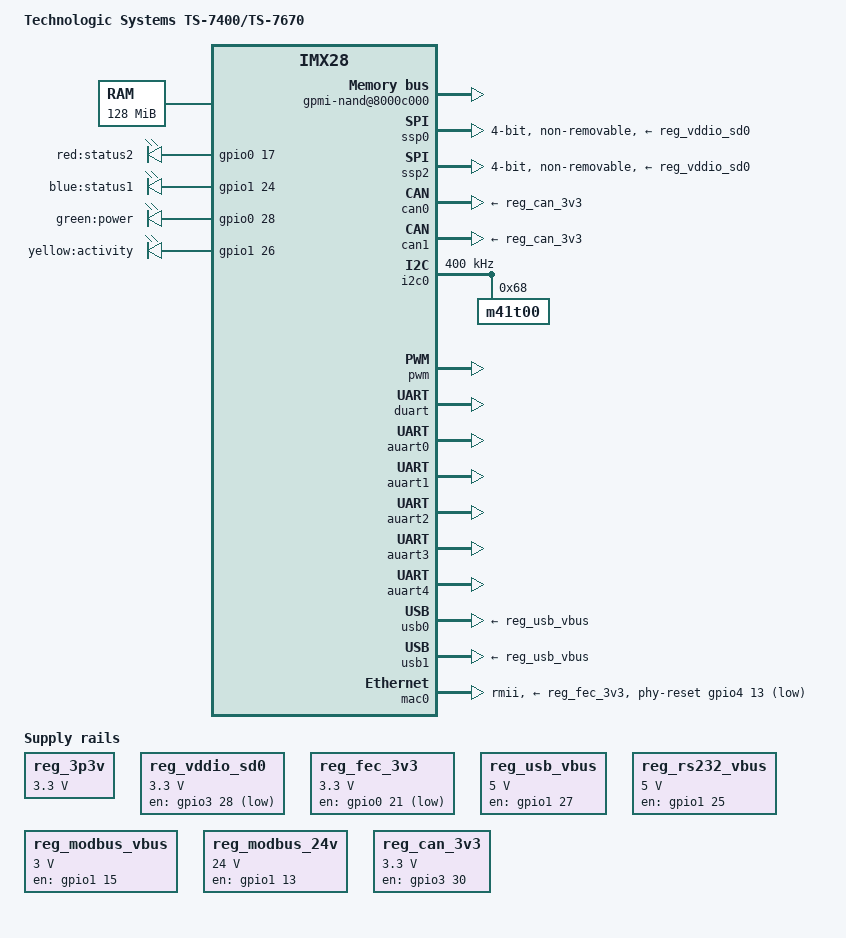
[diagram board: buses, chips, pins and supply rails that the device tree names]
/*
 * Copyright 2014 VRT Systems
 * Copyright 2012 Freescale Semiconductor, Inc.
 *
 * The code contained herein is licensed under the GNU General Public
 * License. You may obtain a copy of the GNU General Public License
 * Version 2 or later at the following locations:
 *
 * http://www.opensource.org/licenses/gpl-license.html
 * http://www.gnu.org/copyleft/gpl.html
 */

/dts-v1/;
#include "imx28.dtsi"

/ {
	model = "Technologic Systems TS-7400/TS-7670";
	compatible = "fsl,imx28-technolgic-ts7400", "fsl,imx28";

	memory {
		reg = <0x40000000 0x08000000>;
	};

	apb@80000000 {
		apbh@80000000 {
			gpmi-nand@8000c000 {
				pinctrl-names = "default";
				pinctrl-0 = <&gpmi_pins_ts7400
					&gpmi_status_cfg>;
				status = "okay";
			};

			ssp0: ssp@80010000 {
				compatible = "fsl,imx28-mmc";
				pinctrl-names = "default";
				pinctrl-0 = <&mmc0_4bit_pins_a
					&mmc0_sck_cfg>;
				bus-width = <4>;
				vmmc-supply = <&reg_vddio_sd0>;
				status = "okay";
				broken-cd;
				non-removable;
			};

			ssp2: ssp@80014000 {
				compatible = "fsl,imx28-mmc";
				pinctrl-names = "default";
				pinctrl-0 = <&mmc2_4bit_pins_a
					&mmc2_sck_cfg>;
				bus-width = <4>;
				vmmc-supply = <&reg_vddio_sd0>;
				status = "okay";
				broken-cd;
				non-removable;
			};

			pinctrl@80018000 {
				pinctrl-names = "default";
				pinctrl-0 = <&hog_pins_a>;

				mmc0_pins_a: mmc0-4bit@0 {
					reg = <0>;
					fsl,pinmux-ids = <
						MX28_PAD_SSP0_DATA0__SSP0_D0
						MX28_PAD_SSP0_DATA1__SSP0_D1
						MX28_PAD_SSP0_DATA2__SSP0_D2
						MX28_PAD_SSP0_DATA3__SSP0_D3
						MX28_PAD_SSP0_CMD__SSP0_CMD
						MX28_PAD_SSP0_SCK__SSP0_SCK
					>;
					fsl,drive-strength = <MXS_DRIVE_8mA>;
					fsl,voltage = <MXS_VOLTAGE_HIGH>;
					fsl,pull-up = <MXS_PULL_ENABLE>;
				};

				mmc2_pins_a: mmc2-4bit@0 {
					reg = <0>;
					fsl,pinmux-ids = <
						MX28_PAD_SSP0_DATA4__SSP2_D0
						MX28_PAD_SSP1_SCK__SSP2_D1
						MX28_PAD_SSP1_CMD__SSP2_D2
						MX28_PAD_SSP0_DATA5__SSP2_D3
						MX28_PAD_SSP0_DATA6__SSP2_CMD
						MX28_PAD_SSP0_DATA7__SSP2_SCK
					>;
					fsl,drive-strength = <MXS_DRIVE_8mA>;
					fsl,voltage = <MXS_VOLTAGE_HIGH>;
					fsl,pull-up = <MXS_PULL_ENABLE>;
				};

				hog_pins_a: hog@0 {
					reg = <0>;
					fsl,pinmux-ids = <
						MX28_PAD_PWM3__GPIO_3_28
						MX28_PAD_LCD_RESET__GPIO_3_30
						MX28_PAD_LCD_D15__GPIO_1_15
						MX28_PAD_LCD_D13__GPIO_1_13
						MX28_PAD_LCD_CS__GPIO_1_27
						MX28_PAD_LCD_WR_RWN__GPIO_1_25
						MX28_PAD_GPMI_RDY1__GPIO_0_21
					>;
					fsl,drive-strength = <MXS_DRIVE_4mA>;
					fsl,voltage = <MXS_VOLTAGE_HIGH>;
					fsl,pull-up = <MXS_PULL_DISABLE>;
				};

				red_led_pin_gpio0_17: red_led_gpio0_17@0 {
					reg = <0>;
					fsl,pinmux-ids = <
						MX28_PAD_GPMI_CE1N__GPIO_0_17
					>;
					fsl,drive-strength = <MXS_DRIVE_4mA>;
					fsl,voltage = <MXS_VOLTAGE_HIGH>;
					fsl,pull-up = <MXS_PULL_DISABLE>;
				};

				blue_led_pin_gpio1_24: blue_led_gpio1_24@0 {
					reg = <0>;
					fsl,pinmux-ids = <
						MX28_PAD_LCD_RD_E__GPIO_1_24
					>;
					fsl,drive-strength = <MXS_DRIVE_4mA>;
					fsl,voltage = <MXS_VOLTAGE_HIGH>;
					fsl,pull-up = <MXS_PULL_DISABLE>;
				};

				green_led_pin_gpio0_28: green_led_gpio0_28@0 {
					reg = <0>;
					fsl,pinmux-ids = <
						MX28_PAD_GPMI_RESETN__GPIO_0_28
					>;
					fsl,drive-strength = <MXS_DRIVE_4mA>;
					fsl,voltage = <MXS_VOLTAGE_HIGH>;
					fsl,pull-up = <MXS_PULL_DISABLE>;
				};

				yellow_led_pin_gpio1_26: yellow_led_gpio1_26@0 {
					reg = <0>;
					fsl,pinmux-ids = <
						MX28_PAD_LCD_RS__GPIO_1_26
					>;
					fsl,drive-strength = <MXS_DRIVE_4mA>;
					fsl,voltage = <MXS_VOLTAGE_HIGH>;
					fsl,pull-up = <MXS_PULL_DISABLE>;
				};

				gpmi_pins_ts7400: gpmi-nand@0 {
					reg = <0>;
					fsl,pinmux-ids = <
						MX28_PAD_GPMI_D00__GPMI_D0
						MX28_PAD_GPMI_D01__GPMI_D1
						MX28_PAD_GPMI_D02__GPMI_D2
						MX28_PAD_GPMI_D03__GPMI_D3
						MX28_PAD_GPMI_D04__GPMI_D4
						MX28_PAD_GPMI_D05__GPMI_D5
						MX28_PAD_GPMI_D06__GPMI_D6
						MX28_PAD_GPMI_D07__GPMI_D7
						MX28_PAD_GPMI_CE0N__GPMI_CE0N
						MX28_PAD_GPMI_RDY0__GPMI_READY0
						MX28_PAD_GPMI_RDN__GPMI_RDN
						MX28_PAD_GPMI_WRN__GPMI_WRN
						MX28_PAD_GPMI_ALE__GPMI_ALE
						MX28_PAD_GPMI_CLE__GPMI_CLE
					>;
					fsl,drive-strength = <MXS_DRIVE_4mA>;
					fsl,voltage = <MXS_VOLTAGE_HIGH>;
					fsl,pull-up = <MXS_PULL_DISABLE>;
				};
				auart4_pins: auart4@0 {
					reg = <0>;
					fsl,pinmux-ids = <
						MX28_PAD_SAIF0_SDATA0__AUART4_TX
						MX28_PAD_SAIF0_BITCLK__AUART4_RX
					>;
					fsl,drive-strength = <MXS_DRIVE_4mA>;
					fsl,voltage = <MXS_VOLTAGE_HIGH>;
					fsl,pull-up = <MXS_PULL_DISABLE>;
				};
			};

			can0: can@80032000 {
				pinctrl-names = "default";
				pinctrl-0 = <&can0_pins_a>;
				xceiver-supply = <&reg_can_3v3>;
				status = "okay";
			};

			can1: can@80034000 {
				pinctrl-names = "default";
				pinctrl-0 = <&can1_pins_a>;
				xceiver-supply = <&reg_can_3v3>;
				status = "okay";
			};
		};

		apbx@80040000 {
			i2c0: i2c@80058000 {
				pinctrl-names = "default";
				pinctrl-0 = <&i2c0_pins_a>;
				clock-frequency = <400000>;
				status = "okay";

				m41t00@0x68 {
					compatible = "m41t00";
					reg = <0x68>;
				};
			};

			pwm: pwm@80064000 {
				pinctrl-names = "default";
				pinctrl-0 = <&pwm2_pins_a>;
				status = "okay";
			};

			duart: serial@80074000 {
				pinctrl-names = "default";
				pinctrl-0 = <&duart_pins_a>;
				status = "okay";
			};

			auart0: serial@8006a000 {
				pinctrl-names = "default";
				pinctrl-0 = <&auart0_pins_a>;
				fsl,uart-has-rtscts;
				status = "okay";
			};

			auart1: serial@8006c000 {
				pinctrl-names = "default";
				pinctrl-0 = <&auart1_2pins_a>;
				status = "okay";
			};

			auart2: serial@8006e000 {
				pinctrl-names = "default";
				pinctrl-0 = <&auart2_2pins_a>;
				status = "okay";
			};

			auart3: serial@80070000 {
				pinctrl-names = "default";
				pinctrl-0 = <&auart3_2pins_a>;
				status = "okay";
			};

			auart4: serial@80072000 {
				pinctrl-names = "default";
				pinctrl-0 = <&auart4_pins>;
				status = "okay";
			};

			usbphy0: usbphy@8007c000 {
				status = "okay";
			};

			usbphy1: usbphy@8007e000 {
				status = "okay";
			};
		};
	};

	ahb@80080000 {
		usb0: usb@80080000 {
			pinctrl-names = "default";
			pinctrl-0 = <&usb0_pins_a>;
			vbus-supply = <&reg_usb_vbus>;
			status = "okay";
		};

		usb1: usb@80090000 {
			pinctrl-names = "default";
			pinctrl-0 = <&usb1_pins_a>;
			vbus-supply = <&reg_usb_vbus>;
			status = "okay";
		};

		mac0: ethernet@800f0000 {
			phy-mode = "rmii";
			pinctrl-names = "default";
			pinctrl-0 = <&mac0_pins_a>;
			phy-supply = <&reg_fec_3v3>;
			phy-reset-gpios = <&gpio4 13 0>;
			phy-reset-duration = <100>;
			status = "okay";
		};
	};

	regulators {
		compatible = "simple-bus";
		#address-cells = <1>;
		#size-cells = <0>;

		reg_3p3v: regulator@0 {
			compatible = "regulator-fixed";
			reg = <0>;
			regulator-name = "3P3V";
			regulator-min-microvolt = <3300000>;
			regulator-max-microvolt = <3300000>;
			regulator-always-on;
		};

		reg_vddio_sd0: regulator@1 {
			compatible = "regulator-fixed";
			reg = <1>;
			regulator-name = "vddio-sd0";
			regulator-min-microvolt = <3300000>;
			regulator-max-microvolt = <3300000>;
			gpio = <&gpio3 28 0>;
			regulator-always-on;
		};

		reg_fec_3v3: regulator@2 {
			compatible = "regulator-fixed";
			reg = <2>;
			regulator-name = "fec-3v3";
			regulator-min-microvolt = <3300000>;
			regulator-max-microvolt = <3300000>;
			gpio = <&gpio0 21 0>;
			regulator-always-on;
		};

		reg_usb_vbus: regulator@3 {
			compatible = "regulator-fixed";
			reg = <3>;
			regulator-name = "usb_vbus";
			regulator-min-microvolt = <5000000>;
			regulator-max-microvolt = <5000000>;
			gpio = <&gpio1 27 0>;
			enable-active-high;
			regulator-always-on;
		};

		reg_rs232_vbus: regulator@4 {
			compatible = "regulator-fixed";
			reg = <4>;
			regulator-name = "rs232_vbus";
			regulator-min-microvolt = <5000000>;
			regulator-max-microvolt = <5000000>;
			gpio = <&gpio1 25 0>;
			enable-active-high;
			regulator-always-on;
		};

		reg_modbus_vbus: regulator@5 {
			compatible = "regulator-fixed";
			reg = <5>;
			regulator-name = "modbus_vbus";
			regulator-min-microvolt = <3000000>;
			regulator-max-microvolt = <3000000>;
			gpio = <&gpio1 15 0>;
			enable-active-high;
			regulator-always-on;
		};

		reg_modbus_24v: regulator@6 {
			compatible = "regulator-fixed";
			reg = <6>;
			regulator-name = "modbus_24v";
			regulator-min-microvolt = <24000000>;
			regulator-max-microvolt = <24000000>;
			gpio = <&gpio1 13 0>;
			enable-active-high;
			regulator-always-on;
		};

		reg_can_3v3: regulator@7 {
			compatible = "regulator-fixed";
			reg = <7>;
			regulator-name = "can-3v3";
			regulator-min-microvolt = <3300000>;
			regulator-max-microvolt = <3300000>;
			gpio = <&gpio3 30 0>;
			enable-active-high;
			regulator-always-on;
		};

	};

	leds {
		compatible = "gpio-leds";
		pinctrl-names = "default";
		pinctrl-0 = <&red_led_pin_gpio0_17
				&blue_led_pin_gpio1_24
				&green_led_pin_gpio0_28
				&yellow_led_pin_gpio1_26>;

		status2 {
			label = "red:status2";
			/* GPMI_CE1N */
			gpios = <&gpio0 17 0>;
			linux,default-trigger = "heartbeat";
		};

		status1 {
			label = "blue:status1";
			/* LCD_RD_E */
			gpios = <&gpio1 24 0>;
			linux,default-trigger = "heartbeat";
		};

		power {
			label = "green:power";
			/* GPMI_RESETN */
			gpios = <&gpio0 28 0>;
			linux,default-trigger = "heartbeat";
		};

		activity {
			label = "yellow:activity";
			/* LCD_RS */
			gpios = <&gpio1 26 0>;
			linux,default-trigger = "heartbeat";
		};
	};
};
